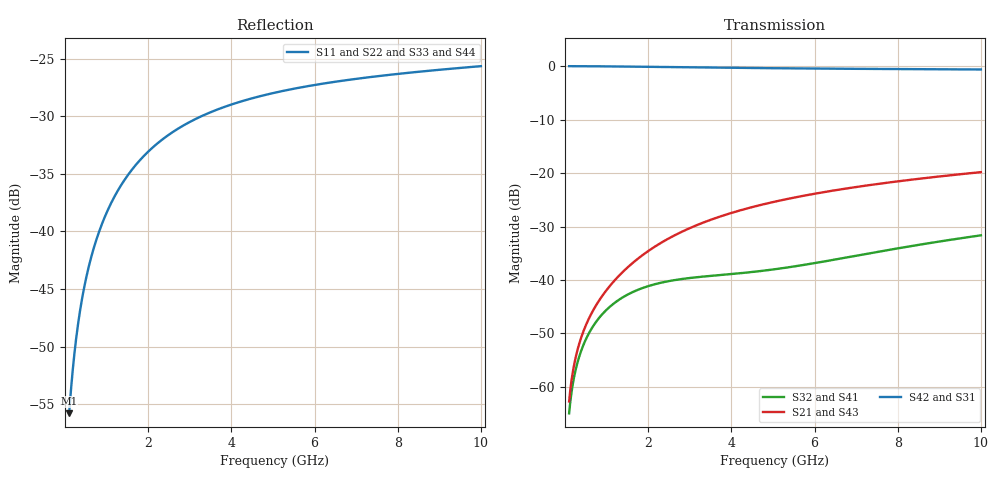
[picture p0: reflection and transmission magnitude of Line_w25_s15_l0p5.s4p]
! TOUCHSTONE file generated by CST MICROWAVE STUDIO
! Date and time: Mon Oct 20 18:01:09 2014
! Project name: Untitled_1.cst
# GHZ S MA R 50
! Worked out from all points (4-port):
!   1001 points, 100 MHz to 10 GHz, reference 50 ohm
!   strongest paths, dB at 100 MHz, 2.575 GHz, 5.05 GHz, 7.525 GHz, 10 GHz:
!     S42: 0.0, -0.2, -0.4, -0.5, -0.6
!     S31: 0.0, -0.2, -0.4, -0.5, -0.6
!     S21: -62.7, -31.9, -25.3, -22.0, -19.8
!     S43: -62.7, -31.9, -25.3, -22.0, -19.8
!     S32: -64.9, -40.1, -38.0, -34.7, -31.6
!     S41: -64.9, -40.1, -38.0, -34.7, -31.6
!   lowest |S11| = -55.8 dB at 100 MHz (marker M1), VSWR 1.00, Z = 50.1 - j0.122 ohm
!   |S11| at or under -10 dB: start of sweep to end of sweep
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0.1  0.001624 -48.6  0.0007329 91.0  0.9988 -0.3  0.000567 -92.0
     0.0007329 91.0  0.001625 -48.6  0.000567 -92.0  0.9988 -0.3
     0.9988 -0.3  0.000567 -92.0  0.001624 -48.6  0.0007329 91.0
     0.000567 -92.0  0.9988 -0.3  0.0007329 91.0  0.001625 -48.6
0.3574  0.004464 -81.2  0.002646 93.8  0.9982 -1.0  0.002 -96.5
        0.002645 93.8  0.004469 -81.2  0.002 -96.5  0.9982 -1.0
        0.9982 -1.0  0.002 -96.5  0.004465 -81.2  0.002645 93.8
        0.002 -96.5  0.9982 -1.0  0.002646 93.8  0.004469 -81.2
0.8029  0.009767 -98.0  0.006274 97.5  0.9959 -2.1  0.004333 -104.0
        0.006274 97.5  0.00978 -97.9  0.004334 -104.0  0.9959 -2.1
        0.9959 -2.1  0.004334 -104.0  0.009766 -98.0  0.006274 97.5
        0.004333 -104.0  0.9959 -2.1  0.006274 97.5  0.00978 -97.9
1.5058  0.01749 -114.3  0.01312 99.4  0.99 -3.8  0.007303 -114.4
        0.01312 99.4  0.01751 -114.2  0.007303 -114.4  0.99 -3.8
        0.99 -3.8  0.007303 -114.4  0.01749 -114.3  0.01312 99.4
        0.007303 -114.4  0.99 -3.8  0.01312 99.4  0.01751 -114.2
2.5057  0.02635 -132.1  0.0246 96.7  0.9794 -6.0  0.009778 -123.6
        0.0246 96.7  0.02638 -132.0  0.009778 -123.6  0.9794 -6.0
        0.9794 -6.0  0.009778 -123.6  0.02635 -132.1  0.0246 96.7
        0.009778 -123.6  0.9794 -6.0  0.0246 96.7  0.02639 -132.0
5.2579  0.04079 -166.9  0.0563 84.5  0.954 -10.8  0.01294 -118.7
        0.0563 84.5  0.0408 -166.6  0.01295 -118.7  0.9541 -10.8
        0.954 -10.8  0.01295 -118.7  0.04078 -166.9  0.0563 84.5
        0.01294 -118.7  0.9541 -10.8  0.0563 84.5  0.04081 -166.6
10  0.05216 154.7  0.102 71.8  0.9302 -18.1  0.02616 -110.7
    0.102 71.8  0.05204 155.0  0.02616 -110.8  0.9303 -18.1
    0.9302 -18.1  0.02616 -110.8  0.05214 154.7  0.102 71.8
    0.02616 -110.7  0.9303 -18.1  0.102 71.8  0.05207 155.0
